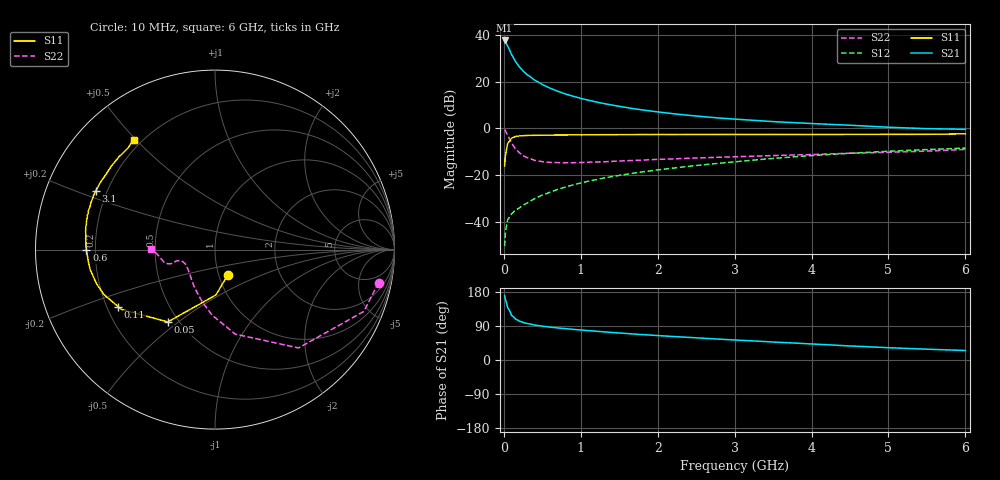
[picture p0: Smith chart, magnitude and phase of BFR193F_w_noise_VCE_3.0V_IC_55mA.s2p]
! Infineon Technologies  Discrete & RF Semiconductors
! BFR193F
! VCE =  3.0 V,  IC =  55 mA
! Common Emitter S-Parameters:  Jan 2017
# GHz  S  MA  R  50
!  f  S11  S21  S12  S22
! GHz  MAG  ANG  MAG  ANG  MAG  ANG  MAG  ANG
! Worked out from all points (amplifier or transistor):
!   77 points, 10 MHz to 6 GHz, reference 50 ohm
!   highest |S21| = 37.6 dB at 10 MHz (marker M1)
!   |S21| within 3 dB of that: start of sweep to 59.09 MHz
!   unconditionally stable (mu >= 1): 764.6 MHz to 2.538 GHz
!   at 130 MHz: K = 0.54, MSG = 32.8 dB, |S12| = -35.7 dB
!   at 2.2 GHz: K = 1.02, MAG = 10.8 dB, |S12| = -17.0 dB
!   at 6 GHz: K = 0.88, MSG = 4.0 dB, |S12| = -8.5 dB
!   lowest NFmin = 1.56 dB at 450 MHz
!   S11 on the Smith chart (normalised r, x): 10 MHz: 1.11, -0.32; 50 MHz: 0.44, -0.46; 110 MHz: 0.25, -0.26; 600 MHz: 0.17, -0.00; 3.1 GHz: 0.16, +0.23; 6 GHz: 0.17, +0.49
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0.01  0.1575 -62.5  76.07 170.1  0.003 85.8  0.9298 -11.4
0.02  0.2527 -88.8  72.59 160.1  0.0056 75.0  0.8983 -22.5
0.05  0.4809 -123.1  57.84 137.7  0.0111 63.4  0.7193 -49.6
0.1  0.6187 -147.4  37.92 117.9  0.0146 52.5  0.4843 -76.5
0.11  0.6267 -149.6  35.7 116.5  0.0152 52.5  0.4583 -79.0
0.15  0.6676 -158.0  27.14 108.5  0.0176 52.5  0.3662 -92.5
0.2  0.6869 -164.0  20.91 102.8  0.0198 56.0  0.3018 -103.2
0.25  0.6961 -168.2  16.92 99.1  0.0226 58.0  0.2599 -112.4
0.3  0.7042 -170.8  14.23 96.4  0.025 61.5  0.2371 -119.2
0.4  0.709 -174.8  10.76 92.2  0.0312 64.5  0.2076 -130.0
0.5  0.7123 -177.6  8.659 89.3  0.0373 67.8  0.1931 -137.6
0.6  0.7167 -179.8  7.246 86.8  0.0427 69.7  0.1869 -143.4
0.7  0.7195 178.1  6.227 84.6  0.0494 70.5  0.1844 -147.5
0.8  0.72 176.7  5.448 82.8  0.0552 71.7  0.1838 -151.2
0.9  0.7238 175.0  4.865 80.9  0.0617 72.8  0.1841 -153.9
1.1  0.7271 172.5  3.994 77.5  0.0737 73.5  0.1884 -157.2
1.5  0.7326 167.9  2.96 71.3  0.0983 74.0  0.2 -161.5
2.1  0.7371 162.1  2.152 63.3  0.1347 73.4  0.2193 -163.4
3.1  0.7398 153.6  1.538 51.8  0.1984 70.9  0.2493 -162.3
4.1  0.7384 144.8  1.246 41.3  0.2669 66.2  0.2782 -163.9
5.1  0.7436 134.9  1.04 31.7  0.3285 60.1  0.3107 -172.2
6  0.7625 126.5  0.954 25.1  0.3775 54.6  0.3543 179.2
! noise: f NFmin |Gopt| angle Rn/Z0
0.45  1.56  0.48  -179  0.07
0.9  1.64  0.49  -177  0.08
1.9  2.22  0.6  -163  0.1
2.4  2.54  0.62  -155  0.16
